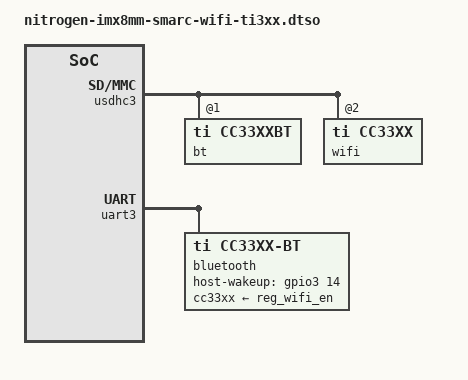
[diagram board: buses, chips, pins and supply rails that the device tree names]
// SPDX-License-Identifier: (GPL-2.0+ OR MIT)
/*
 * SDIO TI3xx module
 *
 * Copyright (C) 2026 Ezurio LLC
 */

/dts-v1/;
/plugin/;

#include <dt-bindings/gpio/gpio.h>

#include "imx8mm-pinfunc.h"

&reg_wifi_en {
	startup-delay-us = <10000>;
	off-on-delay-us = <100>;
};

&usdhc3 {
	status = "okay";

	cap-power-off-card;

	#address-cells = <1>;
	#size-cells = <0>;

	bt@1 {
		reg = <1>;
		compatible = "ti,cc33xxbt";
	};

	wifi@2 {
		reg = <2>;
		compatible = "ti,cc33xx";
	};
};

&uart3 {
 	status = "okay";

	bluetooth {
		compatible = "ti,cc33xx-bt";
		cc33xx-supply = <&reg_wifi_en>;
		max-speed = <115200>;

		pinctrl-names = "default";
		pinctrl-0 = <&pinctrl_bt_wake>;
		host-wakeup-gpios = <&gpio3 14 GPIO_ACTIVE_HIGH>;
	};
};

&iomuxc {
	pinctrl_bt_wake: bt-wakegrp {
		fsl,pins = <
			MX8MM_IOMUXC_NAND_DQS_GPIO3_IO14	0x180
		>;
	};
};	
